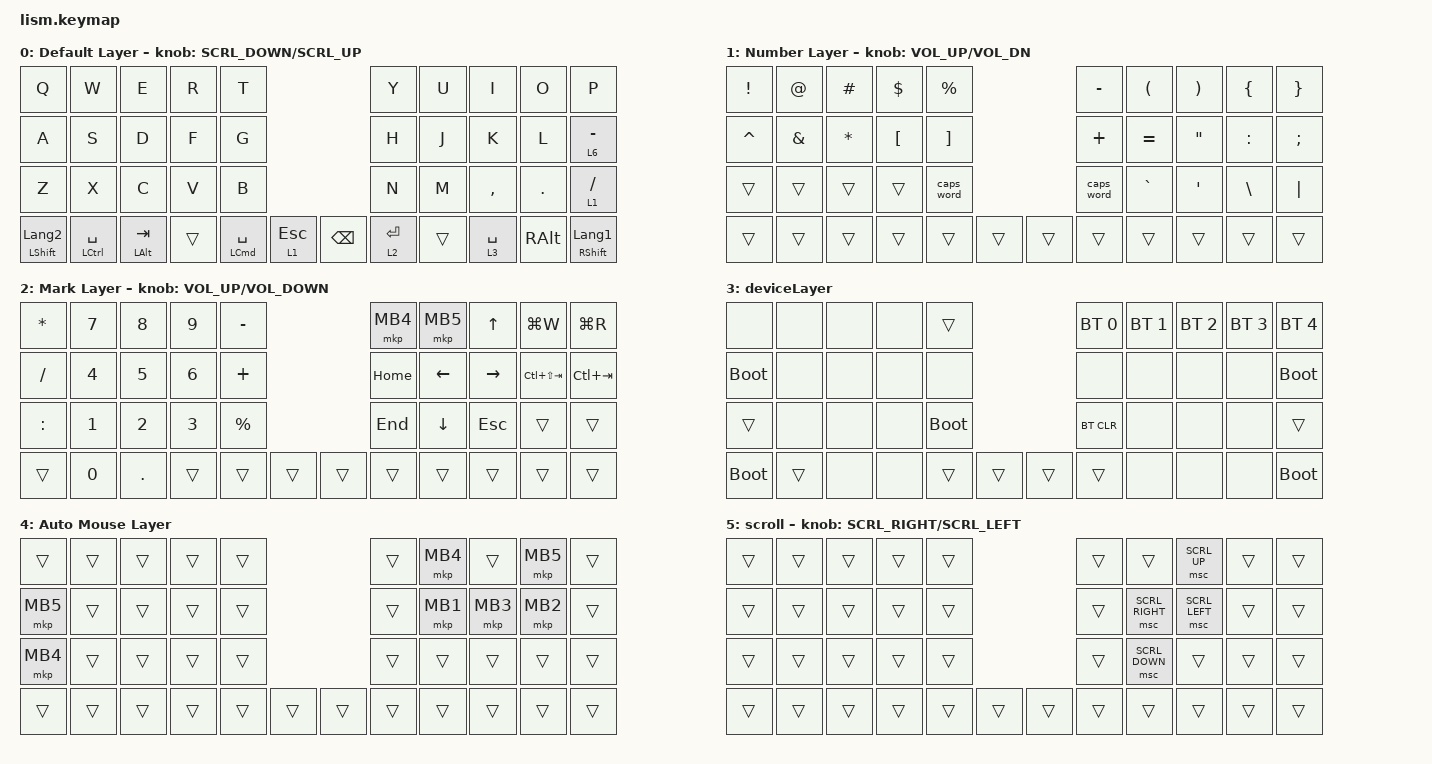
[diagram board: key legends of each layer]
#define ZMK_POINTING_DEFAULT_SCRL_VAL 200

#include <dt-bindings/zmk/mouse.h>
#include <behaviors.dtsi>
#include <dt-bindings/zmk/bt.h>
#include <dt-bindings/zmk/keys.h>
#include <dt-bindings/zmk/pointing.h>

&mt {
    tapping-term-ms = <200>;
    flavor = "balanced";
};

&lt { quick-tap-ms = <210>; };

/ {
    behaviors {
        encoder_msc: sensor_rotate_msc {
            compatible = "zmk,behavior-sensor-rotate-var";
            #sensor-binding-cells = <2>;
            bindings = <&msc>, <&msc>;

            tap-ms = <20>;
        };

        encoder_kp: sensor_rotate_kp {
            compatible = "zmk,behavior-sensor-rotate-var";
            #sensor-binding-cells = <2>;
            bindings = <&kp>, <&kp>;
        };

        repeat_enter: repeat_enter {
            compatible = "zmk,behavior-hold-tap";
            label = "REPEAT_ENTER";
            bindings = <&mo>, <&kp>;

            #binding-cells = <2>;
            tapping-term-ms = <200>;
            quick-tap-ms = <170>;
            flavor = "balanced";
        };
    };

    combos {
        compatible = "zmk,combos";

        tab {
            bindings = <&kp TAB>;
            key-positions = <12 13>;
        };

        mouse_btn1 {
            bindings = <&mkp LCLK>;
            key-positions = <16 17>;
        };

        mouse_btn2 {
            bindings = <&mkp MB2>;
            key-positions = <17 18>;
        };

        mouse_btn3 {
            bindings = <&mkp MB3>;
            key-positions = <16 17 18>;
        };

        layer3 {
            bindings = <&mo 3>;
            key-positions = <34 35>;
        };

        layer4 {
            bindings = <&mo 4>;
            key-positions = <30 35>;
        };

        layer4-r {
            bindings = <&mo 4>;
            key-positions = <36 41>;
        };
    };

    keymap {
        compatible = "zmk,keymap";

        default {
            display-name = "Default Layer";
            bindings = <
&kp Q                      &kp W            &kp E             &kp R   &kp T                                               &kp Y                  &kp U   &kp I        &kp O          &kp P
&kp A                      &kp S            &kp D             &kp F   &kp G                                               &kp H                  &kp J   &kp K        &kp L          &lt 6 MINUS
&kp Z                      &kp X            &kp C             &kp V   &kp B                                               &kp N                  &kp M   &kp COMMA    &kp DOT        &lt 1 SLASH
&mt LEFT_SHIFT LANGUAGE_2  &mt LCTRL SPACE  &mt LEFT_ALT TAB  &trans  &mt LEFT_COMMAND SPACE  &lt 1 ESC    &kp BACKSPACE  &repeat_enter 2 ENTER  &trans  &lt 3 SPACE  &kp RIGHT_ALT  &mt RIGHT_SHIFT LANGUAGE_1
            >;

            sensor-bindings = <&encoder_msc SCRL_DOWN SCRL_UP>;
        };

        symbol {
            display-name = "Number Layer";
            bindings = <
&kp EXCLAMATION  &kp AT_SIGN    &kp POUND     &kp DOLLAR        &kp PERCENT                          &kp MINUS   &kp LEFT_PARENTHESIS  &kp RIGHT_PARENTHESIS  &kp LEFT_BRACE  &kp RIGHT_BRACE
&kp CARET        &kp AMPERSAND  &kp ASTERISK  &kp LEFT_BRACKET  &kp RIGHT_BRACKET                    &kp PLUS    &kp EQUAL             &kp DOUBLE_QUOTES      &kp COLON       &kp SEMICOLON
&trans           &trans         &trans        &trans            &caps_word                           &caps_word  &kp GRAVE             &kp SQT                &kp BACKSLASH   &kp PIPE
&trans           &trans         &trans        &trans            &trans             &trans    &trans  &trans      &trans                &trans                 &trans          &trans
            >;

            sensor-bindings = <&encoder_kp C_VOL_UP C_VOL_DN>;
        };

        number {
            display-name = "Mark Layer";
            bindings = <
&kp ASTERISK  &kp NUMBER_7  &kp NUMBER_8  &kp NUMBER_9  &kp MINUS                      &mkp MB4  &mkp MB5  &kp UP     &kp LG(W)        &kp LG(R)
&kp SLASH     &kp NUMBER_4  &kp NUMBER_5  &kp NUMBER_6  &kp PLUS                       &kp HOME  &kp LEFT  &kp RIGHT  &kp LC(LS(TAB))  &kp LC(TAB)
&kp COLON     &kp NUMBER_1  &kp NUMBER_2  &kp NUMBER_3  &kp PERCENT                    &kp END   &kp DOWN  &kp ESC    &trans           &trans
&trans        &kp NUMBER_0  &kp PERIOD    &trans        &trans       &trans    &trans  &trans    &trans    &trans     &trans           &trans
            >;

            sensor-bindings = <&inc_dec_kp C_VOLUME_UP C_VOLUME_DOWN>;
        };

        shortcut {
            status = "reserved";
            display-name = "appLayer";
            bindings = <
&trans                 &kp LEFT_ARROW                &trans                        &trans                        &trans                                          &kp LS(LA(LC(LG(NUMBER_4))))  &kp LC(LA(LG(NUMBER_4)))  &kp LS(LG(NUMBER_3))  &kp LS(LG(NUMBER_4))  &kp LS(LA(LC(LG(NUMBER_0))))
&kp LS(LA(LC(LG(C))))  &kp LS(LA(LC(LG(NUMBER_3))))  &kp LS(LA(LC(LG(NUMBER_2))))  &kp LG(LC(F))                 &kp LS(LA(LC(LG(NUMBER_1))))                    &trans                        &kp LC(UP_ARROW)          &kp LC(DOWN_ARROW)    &kp LC(LEFT_ARROW)    &kp LC(RIGHT_ARROW)
&trans                 &trans                        &kp LA(LG(C))                 &kp LS(LA(LC(LG(NUMBER_8))))  &kp LS(LA(LC(LG(M))))                           &kp K_MUTE                    &kp C_VOL_DN              &kp C_VOL_UP          &trans                &kp LA(ESC)
&trans                 &trans                        &trans                        &trans                        &trans                        &trans    &trans  &trans                        &trans                    &trans                &trans                &trans
            >;
        };

        device {
            display-name = "deviceLayer";
            bindings = <
&none        &none   &none  &none  &trans                         &bt BT_SEL 0  &bt BT_SEL 1  &bt BT_SEL 2  &bt BT_SEL 3  &bt BT_SEL 4
&bootloader  &none   &none  &none  &none                          &none         &none         &none         &none         &bootloader
&trans       &none   &none  &none  &bootloader                    &bt BT_CLR    &none         &none         &none         &trans
&bootloader  &trans  &none  &none  &trans       &trans    &trans  &trans        &none         &none         &none         &bootloader
            >;
        };

        aml {
            display-name = "Auto Mouse Layer";
            bindings = <
&trans    &trans  &trans  &trans  &trans                    &trans  &mkp MB4  &trans    &mkp MB5  &trans
&mkp MB5  &trans  &trans  &trans  &trans                    &trans  &mkp MB1  &mkp MB3  &mkp MB2  &trans
&mkp MB4  &trans  &trans  &trans  &trans                    &trans  &trans    &trans    &trans    &trans
&trans    &trans  &trans  &trans  &trans  &trans    &trans  &trans  &trans    &trans    &trans    &trans
            >;
        };

        scroll {
            bindings = <
&trans  &trans  &trans  &trans  &trans                    &trans  &trans           &msc SCRL_UP    &trans  &trans
&trans  &trans  &trans  &trans  &trans                    &trans  &msc SCRL_RIGHT  &msc SCRL_LEFT  &trans  &trans
&trans  &trans  &trans  &trans  &trans                    &trans  &msc SCRL_DOWN   &trans          &trans  &trans
&trans  &trans  &trans  &trans  &trans  &trans    &trans  &trans  &trans           &trans          &trans  &trans
            >;

            sensor-bindings = <&encoder_msc SCRL_RIGHT SCRL_LEFT>;
        };
    };
};
